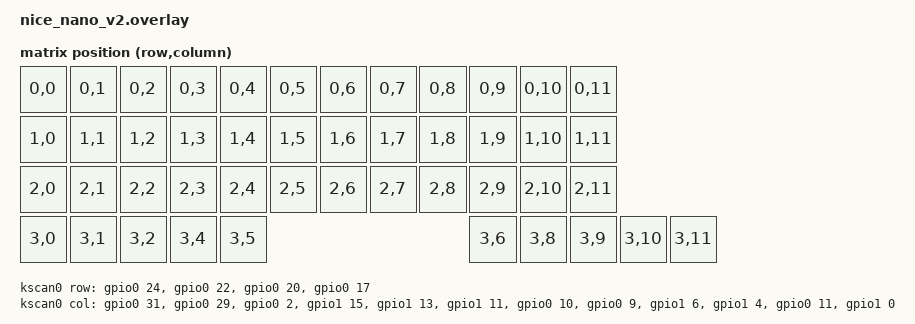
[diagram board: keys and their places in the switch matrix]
#include <dt-bindings/zmk/matrix_transform.h>

/ {
    chosen {
        zmk,kscan = &kscan0;
        zmk,matrix-transform = &default_transform;
    };

    kscan0: kscan {
        compatible = "zmk,kscan-gpio-matrix";
        wakeup-source;
        diode-direction = "col2row";

        row-gpios
            = <&gpio0 24 GPIO_ACTIVE_HIGH>   // Horizontal 1 -> Row 0
            , <&gpio0 22 GPIO_ACTIVE_HIGH>   // Horizontal 2 -> Row 1
            , <&gpio0 20 GPIO_ACTIVE_HIGH>   // Horizontal 3 -> Row 2
            , <&gpio0 17 GPIO_ACTIVE_HIGH>   // Horizontal 4 -> Row 3
            ;

        col-gpios
            = <&gpio0 31 (GPIO_ACTIVE_HIGH | GPIO_PULL_DOWN)>   // Vertikal 1
            , <&gpio0 29 (GPIO_ACTIVE_HIGH | GPIO_PULL_DOWN)>   // Vertikal 2
            , <&gpio0 2  (GPIO_ACTIVE_HIGH | GPIO_PULL_DOWN)>   // Vertikal 3
            , <&gpio1 15 (GPIO_ACTIVE_HIGH | GPIO_PULL_DOWN)>   // Vertikal 4 (war 47 = P1.15)
            , <&gpio1 13 (GPIO_ACTIVE_HIGH | GPIO_PULL_DOWN)>   // Vertikal 5 (war 45 = P1.13)
            , <&gpio1 11 (GPIO_ACTIVE_HIGH | GPIO_PULL_DOWN)>   // Vertikal 6 (war 43 = P1.11)
            , <&gpio0 10 (GPIO_ACTIVE_HIGH | GPIO_PULL_DOWN)>   // Vertikal 7
            , <&gpio0 9  (GPIO_ACTIVE_HIGH | GPIO_PULL_DOWN)>   // Vertikal 8
            , <&gpio1 6  (GPIO_ACTIVE_HIGH | GPIO_PULL_DOWN)>   // Vertikal 9 (war 38 = P1.06)
            , <&gpio1 4  (GPIO_ACTIVE_HIGH | GPIO_PULL_DOWN)>   // Vertikal 10 (war 36 = P1.04)
            , <&gpio0 11 (GPIO_ACTIVE_HIGH | GPIO_PULL_DOWN)>   // Vertikal 11
            , <&gpio1 0  (GPIO_ACTIVE_HIGH | GPIO_PULL_DOWN)>   // Vertikal 12 (war 32 = P1.00)
            ;
    };

    default_transform: keymap_transform_0 {
        compatible = "zmk,matrix-transform";
        columns = <12>;
        rows = <4>;
        map = 
RC(0,0) RC(0,1) RC(0,2) RC(0,3) RC(0,4) RC(0,5) RC(0,6) RC(0,7) RC(0,8) RC(0,9) RC(0,10) RC(0,11)
RC(1,0) RC(1,1) RC(1,2) RC(1,3) RC(1,4) RC(1,5) RC(1,6) RC(1,7) RC(1,8) RC(1,9) RC(1,10) RC(1,11)
RC(2,0) RC(2,1) RC(2,2) RC(2,3) RC(2,4) RC(2,5) RC(2,6) RC(2,7) RC(2,8) RC(2,9) RC(2,10) RC(2,11)
RC(3,0) RC(3,1) RC(3,2)                 RC(3,4) RC(3,5) RC(3,6)                 RC(3,8) RC(3,9) RC(3,10) RC(3,11)
        >;
    };
};
